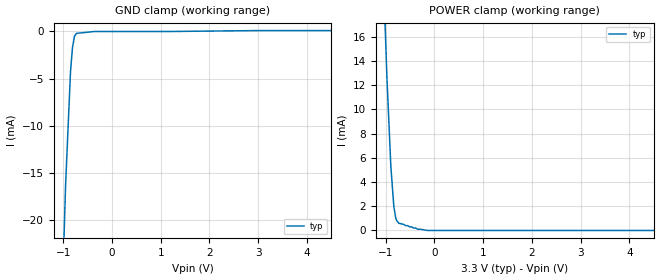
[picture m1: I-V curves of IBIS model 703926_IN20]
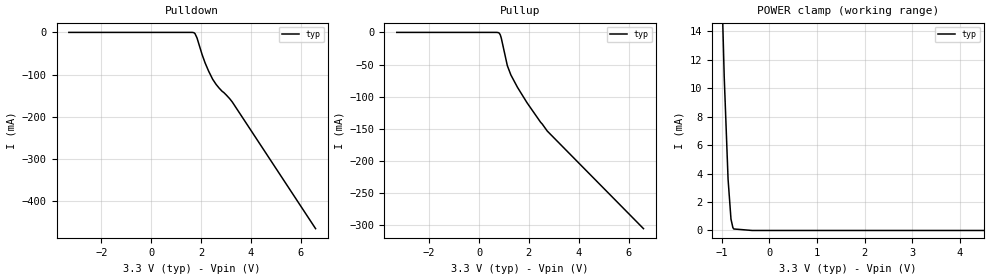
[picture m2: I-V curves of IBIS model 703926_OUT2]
[IBIS Ver] 3.1
[File Name] mc100ep142fa_33v.ibs
[File Rev] 1.0
[Source] Derived from MC100ep101fa_33v.ibs
|   measured and created by ICX Technology
[Date] 4/18/2003
[Copyright]
| (C) COPYRIGHT 1993-2001
| MENTOR GRAPHICS CORPORATION
| ICX STANDARD LIBRARY, ICX PROJECT MODELING,
| ICX CUSTOM MODELING, ICX VENDOR MODEL
| ALL RIGHTS RESERVED.
| THE FOLLOWING ARE TRADEMARKS OR SERVICE MARKS OF
| MENTOR GRAPHICS CORPORATION:ICX (R), ICX STANDARD
| LIBRARY(R), ICX PROJECT MODELING(R), ICX CUSTOM
| MODELING(R), qualityIBIS(TM), MODELVIEWER(TM),
| AND MODELEDITOR(TM)
| ALL COPIES OF SOFTWARE, INCLUDING BUT NOT LIMITED TO
| ANY MODIFICATIONS, ENHANCEMENTS OR DERIVATIVE WORKS,
| MUST CONTAIN ALL MENTOR GRAPHICS CORPORATION'S
| NOTICES AND LEGENDS, INCLUDING THOSE EMBEDDED IN
| SOFTWARE AND THOSE AFFIXED TO SOFTWARE MEDIUM
| AND CONTAINER, AS RECEIVED FROM MENTOR GRAPHICS
| CORPORATION.
|  ZAP Model Builder 3.1
[Component] MC100EP142FA_33v
[Manufacturer] On Semiconductor
[Package]
| variable   typ   min   max
R_pkg  .067ohms NA NA
L_pkg  4.211nH NA NA
C_pkg  1.002pF NA NA
[Pin] signal_name  model_name  R_pin  L_pin C_pin
1  D0   703926_IN20 .065 3.973n .928p
2  SIN   703926_IN20 .065 3.973n .928p
3  _SIN  703926_IN20 .065 3.973n .928p
4  CLK0  703926_IN20 .065 3.973n .928p
5  _CLKO 703926_IN20 .065 3.973n .928p
6  CLK1  703926_IN20 .065 3.973n .928p
7  _CLK1 703926_IN20 .065 3.973n .928p
8  SEL   703926_IN20 .065 3.973n .928p
9  MR   703926_IN20 .065 3.973n .928p
10 Q0   703926_OUT2 .066 4.127n .978p
11 Q1   703926_OUT2 .066 4.127n .978p
12 Q2   703926_OUT2 .066 4.127n .978p
13 VCC   POWER .069 4.455n 1.077p
14 Q3   703926_OUT2 .066 4.127n .978p
15 Q4   703926_OUT2 .066 4.127n .978p
16 VEE   POWER .066 4.127n .978p
17 VCC   POWER .069 4.455n 1.077p
18 Q5   703926_OUT2 .066 4.127n .978p
19 Q6   703926_OUT2 .066 4.127n .978p
20 Q7   703926_OUT2 .066 4.127n .978p
21 _Q7   703926_OUT2 .066 4.127n .978p
22 Q8   703926_OUT2 .066 4.127n .978p
23 D8   703926_IN20 .065 3.973n .928p
24 D7   703926_IN20 .065 3.973n .928p
25 D6   703926_IN20 .065 3.973n .928p
26 D5   703926_IN20 .065 3.973n .928p
27 D4   703926_IN20 .065 3.973n .928p
28 VEE   POWER .066 4.127n .978p
29 D3   703926_IN20 .065 3.973n .928p
30 D2   703926_IN20 .065 3.973n .928p
31 D1   703926_IN20 .065 3.973n .928p
32 VCC   POWER .069 4.455n 1.077p
[Diff Pin] inv_pin vdiff tdelay_typ tdelay_min tdelay_max
2 3 150mV NA NA NA
4 5 150mV NA NA NA
6 7 150mV NA NA NA
20 21 NA 0.035ns NA NA
| Models and submodels in the file (2): 703926_IN20 (Input_ECL), 703926_OUT2 (Output_ECL)
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| (C) COPYRIGHT 1993-2001
| MENTOR GRAPHICS CORPORATION
| ICX STANDARD LIBRARY, ICX PROJECT MODELING,
| ICX CUSTOM MODELING, ICX VENDOR MODEL
| ALL RIGHTS RESERVED.
| THE FOLLOWING ARE TRADEMARKS OR SERVICE MARKS OF
| MENTOR GRAPHICS CORPORATION:ICX (R), ICX STANDARD
| LIBRARY(R), ICX PROJECT MODELING(R), ICX CUSTOM
| MODELING(R), qualityIBIS(TM), MODELVIEWER(TM),
| AND MODELEDITOR(TM)
| ALL COPIES OF SOFTWARE, INCLUDING BUT NOT LIMITED TO
| ANY MODIFICATIONS, ENHANCEMENTS OR DERIVATIVE WORKS,
| MUST CONTAIN ALL MENTOR GRAPHICS CORPORATION'S
| NOTICES AND LEGENDS, INCLUDING THOSE EMBEDDED IN
| SOFTWARE AND THOSE AFFIXED TO SOFTWARE MEDIUM
| AND CONTAINER, AS RECEIVED FROM MENTOR GRAPHICS
| CORPORATION.
| Model Application Version 1.89 2/18/99.
[Model] 703926_IN20
Model_type Input_ECL
Vinl = 1.675V
Vinh = 2.075V
C_comp 2.000pF NA NA
| variable typ   min   max
[Voltage Range] 3.300V NA NA
[GND Clamp Reference] 0.000V NA NA
[POWER Clamp Reference] 3.300V NA NA
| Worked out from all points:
|   GND clamp passes 1 mA (typ) near -0.79 V on its own axis
|   POWER clamp passes 1 mA (typ) near -0.79 V on its own axis
[GND Clamp]
-3.3V     -515.3mA   NA         NA
-1.074V   -37.2mA    NA         NA
-952mV    -16.2mA    NA         NA
-851mV    -4.2mA     NA         NA
-811mV    -1.7mA     NA         NA
-770mV    -500uA     NA         NA
-730mV    -200uA     NA         NA
-365mV    0A         NA         NA
1.195V    0A         NA         NA
3.06V     100uA      NA         NA
6.6V      100uA      NA         NA
[POWER Clamp]
-3.3V     409.4mA    NA         NA
-1.078V   24.4mA     NA         NA
-977mV    12.7mA     NA         NA
-896mV    5.3mA      NA         NA
-835mV    2mA        NA         NA
-794mV    1mA        NA         NA
-774mV    800uA      NA         NA
-733mV    600uA      NA         NA
-338.5mV  100uA      NA         NA
-144mV    0A         NA         NA
6.6V      0A         NA         NA
| (C) COPYRIGHT 1993-2001
| MENTOR GRAPHICS CORPORATION
| ICX STANDARD LIBRARY, ICX PROJECT MODELING,
| ICX CUSTOM MODELING, ICX VENDOR MODEL
| ALL RIGHTS RESERVED.
| THE FOLLOWING ARE TRADEMARKS OR SERVICE MARKS OF
| MENTOR GRAPHICS CORPORATION:ICX (R), ICX STANDARD
| LIBRARY(R), ICX PROJECT MODELING(R), ICX CUSTOM
| MODELING(R), qualityIBIS(TM), MODELVIEWER(TM),
| AND MODELEDITOR(TM)
| ALL COPIES OF SOFTWARE, INCLUDING BUT NOT LIMITED TO
| ANY MODIFICATIONS, ENHANCEMENTS OR DERIVATIVE WORKS,
| MUST CONTAIN ALL MENTOR GRAPHICS CORPORATION'S
| NOTICES AND LEGENDS, INCLUDING THOSE EMBEDDED IN
| SOFTWARE AND THOSE AFFIXED TO SOFTWARE MEDIUM
| AND CONTAINER, AS RECEIVED FROM MENTOR GRAPHICS
| CORPORATION.
| Model Application Version 1.89 2/18/99.
[Model] 703926_OUT2
Model_type Output_ECL
Vref=1.300V
Rref=50.00ohms
Cref=0.000F
Vmeas=1.880V
C_comp 2.000pF NA NA
| variable typ   min   max
[Voltage Range] 3.300V NA NA
[POWER Clamp Reference] 3.300V NA NA
[Pullup Reference] 3.300V NA NA
[Pulldown Reference] 3.300V NA NA
[GND Clamp Reference] 0.000V NA NA
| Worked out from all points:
|   POWER clamp passes 1 mA (typ) near -0.81 V on its own axis
[GND Clamp]
-3.3V     0A         NA         NA
6.6V      0A         NA         NA
[Pulldown]
-3.3V     0A         NA         NA
1.638V    0A         NA         NA
1.76V     -2.7mA     NA         NA
1.841V    -12.9mA    NA         NA
2.043V    -51.9mA    NA         NA
2.165V    -72mA      NA         NA
2.307V    -91.6mA    NA         NA
2.469V    -110.8mA   NA         NA
2.732V    -132.1mA   NA         NA
3.017V    -148.3mA   NA         NA
3.26V     -165mA     NA         NA
6.6V      -464.8mA   NA         NA
[Pullup]
-3.3V     0A         NA         NA
711mV     0A         NA         NA
812mV     -1.2mA     NA         NA
853mV     -3.8mA     NA         NA
893mV     -8.8mA     NA         NA
1.136V    -51.7mA    NA         NA
1.278V    -66.2mA    NA         NA
1.542V    -85.4mA    NA         NA
1.927V    -109.5mA   NA         NA
2.474V    -140mA     NA         NA
2.738V    -153.5mA   NA         NA
6.6V      -305.4mA   NA         NA
[POWER Clamp]
-3.3V     462.4mA    NA         NA
-1.398V   81.4mA     NA         NA
-1.235V   51.8mA     NA         NA
-1.053V   23.4mA     NA         NA
-951mV    10.8mA     NA         NA
-870mV    3.6mA      NA         NA
-809mV    800uA      NA         NA
-769mV    200uA      NA         NA
-748.5mV  100uA      NA         NA
-728mV    100uA      NA         NA
-364mV    0A         NA         NA
6.6V      0A         NA         NA
[Ramp]
| variable typ min max
dV/dt_r 409.9m/129.7p NA NA
dV/dt_f 409.9m/116.2p NA NA
R_load = 50.00Ohms
